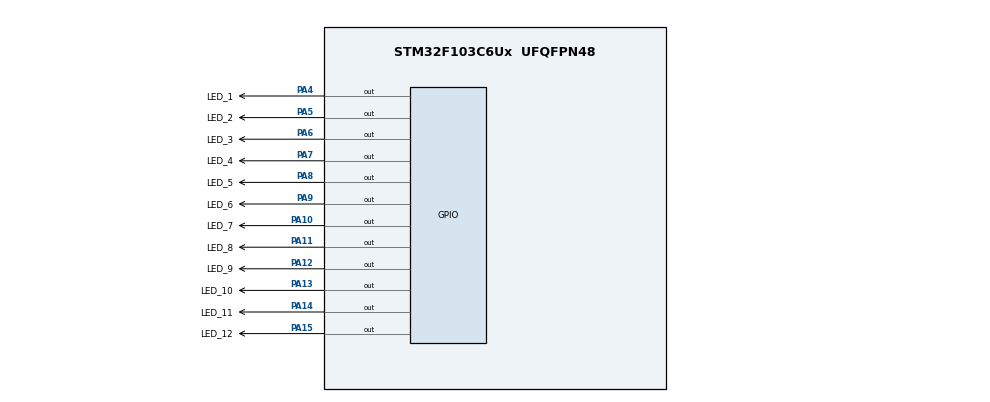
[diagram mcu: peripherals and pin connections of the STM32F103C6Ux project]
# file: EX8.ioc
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Mcu.Family=STM32F1
Mcu.Name=STM32F103C6Ux
Mcu.Package=UFQFPN48
NVIC.PriorityGroup=NVIC_PRIORITYGROUP_4
PA10.GPIO_Label=LED_7
PA10.Signal=GPIO_Output
PA11.GPIO_Label=LED_8
PA11.Signal=GPIO_Output
PA12.GPIO_Label=LED_9
PA12.Signal=GPIO_Output
PA13.GPIO_Label=LED_10
PA13.Signal=GPIO_Output
PA14.GPIO_Label=LED_11
PA14.Signal=GPIO_Output
PA15.GPIO_Label=LED_12
PA15.Signal=GPIO_Output
PA4.GPIO_Label=LED_1
PA4.Signal=GPIO_Output
PA5.GPIO_Label=LED_2
PA5.Signal=GPIO_Output
PA6.GPIO_Label=LED_3
PA6.Signal=GPIO_Output
PA7.GPIO_Label=LED_4
PA7.Signal=GPIO_Output
PA8.GPIO_Label=LED_5
PA8.Signal=GPIO_Output
PA9.GPIO_Label=LED_6
PA9.Signal=GPIO_Output
ProjectManager.HeapSize=0x200
ProjectManager.StackSize=0x400
ProjectManager.TargetToolchain=STM32CubeIDE
RCC.APB1Freq_Value=8000000
RCC.APB2Freq_Value=8000000
VP_SYS_VS_ND.Mode=No_Debug
board=custom

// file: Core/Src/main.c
/* USER CODE BEGIN Header */
/**
  ******************************************************************************
  * @file           : main.c
  * @brief          : Main program body
  ******************************************************************************
  * @attention
  *
  * <h2><center>&copy; Copyright (c) 2024 STMicroelectronics.
  * All rights reserved.</center></h2>
  *
  * This software component is licensed by ST under BSD 3-Clause license,
  * the "License"; You may not use this file except in compliance with the
  * License. You may obtain a copy of the License at:
  *                        opensource.org/licenses/BSD-3-Clause
  *
  ******************************************************************************
  */
/* USER CODE END Header */
#include "main.h"

void SystemClock_Config(void);
static void MX_GPIO_Init(void);
/* USER CODE BEGIN PFP */
void clearAllClock(){
	HAL_GPIO_WritePin(LED_12_GPIO_Port, LED_12_Pin, SET);
	HAL_GPIO_WritePin(LED_11_GPIO_Port, LED_11_Pin, SET);
	HAL_GPIO_WritePin(LED_10_GPIO_Port, LED_10_Pin, SET);
	HAL_GPIO_WritePin(LED_9_GPIO_Port, LED_9_Pin, SET);
	HAL_GPIO_WritePin(LED_8_GPIO_Port, LED_8_Pin, SET);
	HAL_GPIO_WritePin(LED_7_GPIO_Port, LED_7_Pin, SET);
	HAL_GPIO_WritePin(LED_6_GPIO_Port, LED_6_Pin, SET);
	HAL_GPIO_WritePin(LED_5_GPIO_Port, LED_5_Pin, SET);
	HAL_GPIO_WritePin(LED_4_GPIO_Port, LED_4_Pin, SET);
	HAL_GPIO_WritePin(LED_3_GPIO_Port, LED_3_Pin, SET);
	HAL_GPIO_WritePin(LED_2_GPIO_Port, LED_2_Pin, SET);
	HAL_GPIO_WritePin(LED_1_GPIO_Port, LED_1_Pin, SET);
}

void setNumberOnClock(int num){
	clearAllClock();
	switch(num){
	case 11:
			HAL_GPIO_WritePin(LED_12_GPIO_Port, LED_12_Pin, RESET);
			break;
	case 10:
			HAL_GPIO_WritePin(LED_11_GPIO_Port, LED_11_Pin, RESET);
			break;
	case 9:
			HAL_GPIO_WritePin(LED_10_GPIO_Port, LED_10_Pin, RESET);
			break;
	case 8:
			HAL_GPIO_WritePin(LED_9_GPIO_Port, LED_9_Pin, RESET);
			break;
	case 7:
			HAL_GPIO_WritePin(LED_8_GPIO_Port, LED_8_Pin, RESET);
			break;
	case 6:
			HAL_GPIO_WritePin(LED_7_GPIO_Port, LED_7_Pin, RESET);
			break;
	case 5:
			HAL_GPIO_WritePin(LED_6_GPIO_Port, LED_6_Pin, RESET);
			break;
	case 4:
			HAL_GPIO_WritePin(LED_5_GPIO_Port, LED_5_Pin, RESET);
			break;
	case 3:
			HAL_GPIO_WritePin(LED_4_GPIO_Port, LED_4_Pin, RESET);
			break;
	case 2:
			HAL_GPIO_WritePin(LED_3_GPIO_Port, LED_3_Pin, RESET);
			break;
	case 1:
			HAL_GPIO_WritePin(LED_2_GPIO_Port, LED_2_Pin, RESET);
			break;
	case 0:
			HAL_GPIO_WritePin(LED_1_GPIO_Port, LED_1_Pin, RESET);
			break;
	}
}

/* USER CODE END PFP */

int main(void)
{

  /* MCU Configuration--------------------------------------------------------*/

  /* Reset of all peripherals, Initializes the Flash interface and the Systick. */
  HAL_Init();

  /* Configure the system clock */
  SystemClock_Config();

  /* Initialize all configured peripherals */
  MX_GPIO_Init();

  /* Infinite loop */
  /* USER CODE BEGIN WHILE */
  int counter=0;
    HAL_GPIO_TogglePin(LED_12_GPIO_Port, LED_12_Pin);
    HAL_GPIO_TogglePin(LED_11_GPIO_Port, LED_11_Pin);
    HAL_GPIO_TogglePin(LED_10_GPIO_Port, LED_10_Pin);
    HAL_GPIO_TogglePin(LED_9_GPIO_Port, LED_9_Pin);
    HAL_GPIO_TogglePin(LED_8_GPIO_Port, LED_8_Pin);
    HAL_GPIO_TogglePin(LED_7_GPIO_Port, LED_7_Pin);
    HAL_GPIO_TogglePin(LED_6_GPIO_Port, LED_6_Pin);
    HAL_GPIO_TogglePin(LED_5_GPIO_Port, LED_5_Pin);
    HAL_GPIO_TogglePin(LED_4_GPIO_Port, LED_4_Pin);
    HAL_GPIO_TogglePin(LED_3_GPIO_Port, LED_3_Pin);
    HAL_GPIO_TogglePin(LED_2_GPIO_Port, LED_2_Pin);
    HAL_GPIO_TogglePin(LED_1_GPIO_Port, LED_1_Pin);
  while (1)
  {
    /* USER CODE END WHILE */
	  if(counter >12) counter = 1;
	  else counter++;
    /* USER CODE BEGIN 3 */

	  setNumberOnClock(counter-1);
	  HAL_Delay(1000);
  }
  /* USER CODE END 3 */
}

void SystemClock_Config(void)
{
  RCC_OscInitTypeDef RCC_OscInitStruct = {0};
  RCC_ClkInitTypeDef RCC_ClkInitStruct = {0};

  /** Initializes the RCC Oscillators according to the specified parameters
  * in the RCC_OscInitTypeDef structure.
  */
  RCC_OscInitStruct.OscillatorType = RCC_OSCILLATORTYPE_HSI;
  RCC_OscInitStruct.HSIState = RCC_HSI_ON;
  RCC_OscInitStruct.HSICalibrationValue = RCC_HSICALIBRATION_DEFAULT;
  RCC_OscInitStruct.PLL.PLLState = RCC_PLL_NONE;
  if (HAL_RCC_OscConfig(&RCC_OscInitStruct) != HAL_OK)
  {
    Error_Handler();
  }
  /** Initializes the CPU, AHB and APB buses clocks
  */
  RCC_ClkInitStruct.ClockType = RCC_CLOCKTYPE_HCLK|RCC_CLOCKTYPE_SYSCLK
                              |RCC_CLOCKTYPE_PCLK1|RCC_CLOCKTYPE_PCLK2;
  RCC_ClkInitStruct.SYSCLKSource = RCC_SYSCLKSOURCE_HSI;
  RCC_ClkInitStruct.AHBCLKDivider = RCC_SYSCLK_DIV1;
  RCC_ClkInitStruct.APB1CLKDivider = RCC_HCLK_DIV1;
  RCC_ClkInitStruct.APB2CLKDivider = RCC_HCLK_DIV1;

  if (HAL_RCC_ClockConfig(&RCC_ClkInitStruct, FLASH_LATENCY_0) != HAL_OK)
  {
    Error_Handler();
  }
}

static void MX_GPIO_Init(void)
{
  GPIO_InitTypeDef GPIO_InitStruct = {0};

  /* GPIO Ports Clock Enable */
  __HAL_RCC_GPIOA_CLK_ENABLE();

  /*Configure GPIO pin Output Level */
  HAL_GPIO_WritePin(GPIOA, LED_1_Pin|LED_2_Pin|LED_3_Pin|LED_4_Pin
                          |LED_5_Pin|LED_6_Pin|LED_7_Pin|LED_8_Pin
                          |LED_9_Pin|LED_10_Pin|LED_11_Pin|LED_12_Pin, GPIO_PIN_RESET);

  /*Configure GPIO pins : LED_1_Pin LED_2_Pin LED_3_Pin LED_4_Pin
                           LED_5_Pin LED_6_Pin LED_7_Pin LED_8_Pin
                           LED_9_Pin LED_10_Pin LED_11_Pin LED_12_Pin */
  GPIO_InitStruct.Pin = LED_1_Pin|LED_2_Pin|LED_3_Pin|LED_4_Pin
                          |LED_5_Pin|LED_6_Pin|LED_7_Pin|LED_8_Pin
                          |LED_9_Pin|LED_10_Pin|LED_11_Pin|LED_12_Pin;
  GPIO_InitStruct.Mode = GPIO_MODE_OUTPUT_PP;
  GPIO_InitStruct.Pull = GPIO_NOPULL;
  GPIO_InitStruct.Speed = GPIO_SPEED_FREQ_LOW;
  HAL_GPIO_Init(GPIOA, &GPIO_InitStruct);

}

void Error_Handler(void)
{
  __disable_irq();
  while (1)
  {
  }
}

/************************ (C) COPYRIGHT STMicroelectronics *****END OF FILE****/
